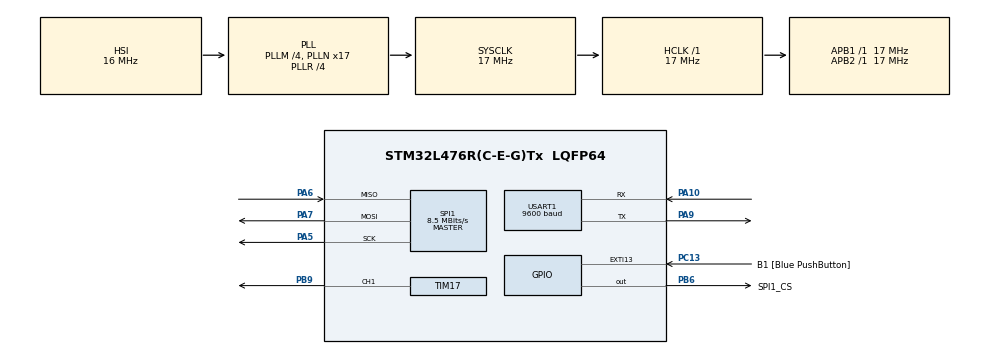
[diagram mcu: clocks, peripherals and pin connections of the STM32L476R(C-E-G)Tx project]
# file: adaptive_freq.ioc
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Mcu.Family=STM32L4
Mcu.Name=STM32L476R(C-E-G)Tx
Mcu.Package=LQFP64
NVIC.PriorityGroup=NVIC_PRIORITYGROUP_4
NVIC.USART1_IRQn=true\:0\:0\:false\:false\:true\:true\:true\:true
PA10.Mode=Asynchronous
PA10.Signal=USART1_RX
PA13\ (JTMS-SWDIO).GPIO_Label=TMS
PA13\ (JTMS-SWDIO).Mode=Serial_Wire
PA13\ (JTMS-SWDIO).Signal=SYS_JTMS-SWDIO
PA14\ (JTCK-SWCLK).GPIO_Label=TCK
PA14\ (JTCK-SWCLK).Mode=Serial_Wire
PA14\ (JTCK-SWCLK).Signal=SYS_JTCK-SWCLK
PA5.Mode=Full_Duplex_Master
PA5.Signal=SPI1_SCK
PA6.Mode=Full_Duplex_Master
PA6.Signal=SPI1_MISO
PA7.Mode=Full_Duplex_Master
PA7.Signal=SPI1_MOSI
PA9.Mode=Asynchronous
PA9.Signal=USART1_TX
PB6.GPIO_Label=SPI1_CS
PB6.Signal=GPIO_Output
PB9.Signal=S_TIM17_CH1
PC13.GPIO_Label=B1 [Blue PushButton]
PC13.GPIO_ModeDefaultEXTI=GPIO_MODE_IT_FALLING
PC13.GPIO_PuPd=GPIO_NOPULL
PC13.Signal=GPXTI13
ProjectManager.HeapSize=0x200
ProjectManager.StackSize=0x400
ProjectManager.TargetToolchain=STM32CubeIDE
RCC.ADCCLockSelection=RCC_ADCCLKSOURCE_PLLSAI1
RCC.ADCFreq_Value=16000000
RCC.AHBFreq_Value=17000000
RCC.APB1CLKDivider=RCC_HCLK_DIV1
RCC.APB1Freq_Value=17000000
RCC.APB1TimCLKDivider=1
RCC.APB1TimFreq_Value=17000000
RCC.APB2CLKDivider=RCC_HCLK_DIV1
RCC.APB2Freq_Value=17000000
RCC.APB2TimCLKDivider=1
RCC.APB2TimFreq_Value=17000000
RCC.CK48CLockSelection=RCC_USBCLKSOURCE_PLLSAI1
RCC.ClockType=ClockTypeHCLK|ClockTypeSysClk|ClockTypePCLK1|ClockTypePCLK2
RCC.CortexFreq_Value=17000000
RCC.Cortex_Div=SYSTICK_CLKSOURCE_HCLK
RCC.DFSDMCLockSelection=RCC_DFSDM1CLKSOURCE_PCLK
RCC.HCLKFreq_Value=17000000
RCC.HSE_VALUE=8000000
RCC.HSI_VALUE=16000000
RCC.I2C1CLockSelection=RCC_I2C1CLKSOURCE_PCLK1
RCC.I2C2CLockSelection=RCC_I2C2CLKSOURCE_PCLK1
RCC.I2C3CLockSelection=RCC_I2C3CLKSOURCE_PCLK1
RCC.LPTIM1CLockSelection=RCC_LPTIM1CLKSOURCE_PCLK
RCC.LPTIM2CLockSelection=RCC_LPTIM2CLKSOURCE_PCLK
RCC.LPUART1CLockSelection=RCC_LPUART1CLKSOURCE_PCLK1
RCC.LSE_VALUE=32768
RCC.MSIClockRange=RCC_MSIRANGE_6
RCC.MSI_VALUE=4000000
RCC.OscillatorType=OscillatorTypeHSI|OscillatorTypeLSI|OscillatorTypeHSE|OscillatorTypeLSE|OscillatorTypeMSI
RCC.PLLM=4
RCC.PLLN=17
RCC.PLLP=RCC_PLLP_DIV7
RCC.PLLQ=RCC_PLLQ_DIV2
RCC.PLLR=RCC_PLLR_DIV4
RCC.PLLSAI1P=RCC_PLLP_DIV7
RCC.PLLSAI1Q=RCC_PLLQ_DIV2
RCC.PLLSAI1R=RCC_PLLR_DIV2
RCC.PLLSAI2P=RCC_PLLP_DIV7
RCC.PLLSAI2R=RCC_PLLR_DIV2
RCC.PLLSourceVirtual=RCC_PLLSOURCE_HSI
RCC.PREFETCH_ENABLE=1
RCC.RCC_MCO1Source=RCC_MCO1SOURCE_SYSCLK
RCC.RCC_MCODiv=RCC_MCODIV_1
RCC.RCC_RTC_Clock_Source_FROM_HSE=32
RCC.RTCClockSelection=RCC_RTCCLKSOURCE_LSI
RCC.SAI1CLockSelection=RCC_SAI1CLKSOURCE_PLLSAI1
RCC.SAI2CLockSelection=RCC_SAI2CLKSOURCE_PLLSAI1
RCC.SWPMI1CLockSelection=RCC_SWPMI1CLKSOURCE_PCLK
RCC.SYSCLKFreq_VALUE=17000000
RCC.SYSCLKSource=RCC_SYSCLKSOURCE_PLLCLK
RCC.UART4CLockSelection=RCC_UART4CLKSOURCE_PCLK1
RCC.UART5CLockSelection=RCC_UART5CLKSOURCE_PCLK1
RCC.USART1CLockSelection=RCC_USART1CLKSOURCE_PCLK2
RCC.USART2CLockSelection=RCC_USART2CLKSOURCE_PCLK1
RCC.USART3CLockSelection=RCC_USART3CLKSOURCE_PCLK1
RCC.USBFreq_Value=16000000
RCC.VCOOutputFreq_Value=68000000
SH.S_TIM17_CH1.0=TIM17_CH1,PWM Generation1 CH1
SPI1.BaudRatePrescaler=SPI_BAUDRATEPRESCALER_2
SPI1.CLKPhase=SPI_PHASE_2EDGE
SPI1.CalculateBaudRate=8.5 MBits/s
SPI1.DataSize=SPI_DATASIZE_8BIT
SPI1.Direction=SPI_DIRECTION_2LINES
SPI1.Mode=SPI_MODE_MASTER
SPI1.VirtualType=VM_MASTER
TIM17.Channel=TIM_CHANNEL_1
TIM17.Period=999
TIM17.Pulse=499
USART1.BaudRate=9600
USART1.VirtualMode-Asynchronous=VM_ASYNC
VP_TIM17_VS_ClockSourceINT.Mode=Enable_Timer
board=NUCLEO-L476RG

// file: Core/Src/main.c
/* USER CODE BEGIN Header */
/**
  ******************************************************************************
  * @file           : main.c
  * @brief          : Main program body
  ******************************************************************************
  * @attention
  *
  * Copyright (c) 2022 STMicroelectronics.
  * All rights reserved.
  *
  * This software is licensed under terms that can be found in the LICENSE file
  * in the root directory of this software component.
  * If no LICENSE file comes with this software, it is provided AS-IS.
  *
  ******************************************************************************
  */
/* USER CODE END Header */
#include "main.h"

/* USER CODE BEGIN Includes */
#include "freq_adjuster.h"
#include "string.h"
#include "stdlib.h"
#include "stdio.h"
#include "stdbool.h"
#include "comms.h"

// CAUTION! THE BANK SELECTION IS CURRENTLY DISABLED, SEE     static uint8_t read_single_icm20948_reg(userbank ub, uint8_t reg)
// INITIALIZATION PART IS ALSO OMITTED
#include "icm20948.h"

/* USER CODE END Includes */

SPI_HandleTypeDef hspi1;

TIM_HandleTypeDef htim17;

UART_HandleTypeDef huart1;

/* USER CODE BEGIN PV */

extern char uart_rx_char;

/* USER CODE END PV */

void SystemClock_Config(void);
static void MX_GPIO_Init(void);
static void MX_TIM17_Init(void);
void MX_USART1_UART_Init(void);
static void MX_SPI1_Init(void);
/* USER CODE BEGIN PFP */
extern void CPU_set_freq(uint8_t freq, UART_HandleTypeDef *uart_to_reset);
/* USER CODE END PFP */

int main(void)
{
  /* USER CODE BEGIN 1 */
	char test_word[] = "STM32 TEST PLATFORM BOOTUP\r\n";
  /* USER CODE END 1 */

  /* MCU Configuration--------------------------------------------------------*/

  /* Reset of all peripherals, Initializes the Flash interface and the Systick. */
  HAL_Init();

  /* Configure the system clock */
  SystemClock_Config();

  /* Initialize all configured peripherals */
  MX_GPIO_Init();
  MX_TIM17_Init();
  MX_USART1_UART_Init();
  MX_SPI1_Init();

  /* Infinite loop */
  /* USER CODE BEGIN WHILE */

  // initialize ICM20948
  // currently disabled because ICM20948 emulator doesnt respond to commands other than ID...

  CPU_set_freq(1, &huart1);
  HAL_UART_Receive_IT(&huart1, (uint8_t *)&uart_rx_char, 1);

  HAL_TIM_PWM_Start(&htim17, TIM_CHANNEL_1);
  HAL_UART_Transmit(&huart1, (uint8_t *)test_word, strlen(test_word), 1000);

  while (1)
  {
	  interpret_user_input();

    /* USER CODE END WHILE */

  }
}

void SystemClock_Config(void)
{
  RCC_OscInitTypeDef RCC_OscInitStruct = {0};
  RCC_ClkInitTypeDef RCC_ClkInitStruct = {0};

  /** Configure the main internal regulator output voltage
  */
  if (HAL_PWREx_ControlVoltageScaling(PWR_REGULATOR_VOLTAGE_SCALE1) != HAL_OK)
  {
    Error_Handler();
  }

  /** Initializes the RCC Oscillators according to the specified parameters
  * in the RCC_OscInitTypeDef structure.
  */
  RCC_OscInitStruct.OscillatorType = RCC_OSCILLATORTYPE_HSI;
  RCC_OscInitStruct.HSIState = RCC_HSI_ON;
  RCC_OscInitStruct.HSICalibrationValue = RCC_HSICALIBRATION_DEFAULT;
  RCC_OscInitStruct.PLL.PLLState = RCC_PLL_ON;
  RCC_OscInitStruct.PLL.PLLSource = RCC_PLLSOURCE_HSI;
  RCC_OscInitStruct.PLL.PLLM = 4;
  RCC_OscInitStruct.PLL.PLLN = 17;
  RCC_OscInitStruct.PLL.PLLP = RCC_PLLP_DIV7;
  RCC_OscInitStruct.PLL.PLLQ = RCC_PLLQ_DIV2;
  RCC_OscInitStruct.PLL.PLLR = RCC_PLLR_DIV4;
  if (HAL_RCC_OscConfig(&RCC_OscInitStruct) != HAL_OK)
  {
    Error_Handler();
  }

  /** Initializes the CPU, AHB and APB buses clocks
  */
  RCC_ClkInitStruct.ClockType = RCC_CLOCKTYPE_HCLK|RCC_CLOCKTYPE_SYSCLK
	  	  	  	  |RCC_CLOCKTYPE_PCLK1|RCC_CLOCKTYPE_PCLK2;
  RCC_ClkInitStruct.SYSCLKSource = RCC_SYSCLKSOURCE_PLLCLK;
  RCC_ClkInitStruct.AHBCLKDivider = RCC_SYSCLK_DIV1;
  RCC_ClkInitStruct.APB1CLKDivider = RCC_HCLK_DIV1;
  RCC_ClkInitStruct.APB2CLKDivider = RCC_HCLK_DIV1;

  if (HAL_RCC_ClockConfig(&RCC_ClkInitStruct, FLASH_LATENCY_1) != HAL_OK)
  {
    Error_Handler();
  }
}

static void MX_SPI1_Init(void)
{

  /* SPI1 parameter configuration*/
  hspi1.Instance = SPI1;
  hspi1.Init.Mode = SPI_MODE_MASTER;
  hspi1.Init.Direction = SPI_DIRECTION_2LINES;
  hspi1.Init.DataSize = SPI_DATASIZE_8BIT;
  hspi1.Init.CLKPolarity = SPI_POLARITY_LOW;
  hspi1.Init.CLKPhase = SPI_PHASE_2EDGE;
  hspi1.Init.NSS = SPI_NSS_SOFT;
  hspi1.Init.BaudRatePrescaler = SPI_BAUDRATEPRESCALER_2;
  hspi1.Init.FirstBit = SPI_FIRSTBIT_MSB;
  hspi1.Init.TIMode = SPI_TIMODE_DISABLE;
  hspi1.Init.CRCCalculation = SPI_CRCCALCULATION_DISABLE;
  hspi1.Init.CRCPolynomial = 7;
  hspi1.Init.CRCLength = SPI_CRC_LENGTH_DATASIZE;
  hspi1.Init.NSSPMode = SPI_NSS_PULSE_DISABLE;
  if (HAL_SPI_Init(&hspi1) != HAL_OK)
  {
    Error_Handler();
  }

}

static void MX_TIM17_Init(void)
{

  TIM_OC_InitTypeDef sConfigOC = {0};
  TIM_BreakDeadTimeConfigTypeDef sBreakDeadTimeConfig = {0};

  htim17.Instance = TIM17;
  htim17.Init.Prescaler = 0;
  htim17.Init.CounterMode = TIM_COUNTERMODE_UP;
  htim17.Init.Period = 999;
  htim17.Init.ClockDivision = TIM_CLOCKDIVISION_DIV1;
  htim17.Init.RepetitionCounter = 0;
  htim17.Init.AutoReloadPreload = TIM_AUTORELOAD_PRELOAD_DISABLE;
  if (HAL_TIM_Base_Init(&htim17) != HAL_OK)
  {
    Error_Handler();
  }
  if (HAL_TIM_PWM_Init(&htim17) != HAL_OK)
  {
    Error_Handler();
  }
  sConfigOC.OCMode = TIM_OCMODE_PWM1;
  sConfigOC.Pulse = 499;
  sConfigOC.OCPolarity = TIM_OCPOLARITY_HIGH;
  sConfigOC.OCNPolarity = TIM_OCNPOLARITY_HIGH;
  sConfigOC.OCFastMode = TIM_OCFAST_DISABLE;
  sConfigOC.OCIdleState = TIM_OCIDLESTATE_RESET;
  sConfigOC.OCNIdleState = TIM_OCNIDLESTATE_RESET;
  if (HAL_TIM_PWM_ConfigChannel(&htim17, &sConfigOC, TIM_CHANNEL_1) != HAL_OK)
  {
    Error_Handler();
  }
  sBreakDeadTimeConfig.OffStateRunMode = TIM_OSSR_DISABLE;
  sBreakDeadTimeConfig.OffStateIDLEMode = TIM_OSSI_DISABLE;
  sBreakDeadTimeConfig.LockLevel = TIM_LOCKLEVEL_OFF;
  sBreakDeadTimeConfig.DeadTime = 0;
  sBreakDeadTimeConfig.BreakState = TIM_BREAK_DISABLE;
  sBreakDeadTimeConfig.BreakPolarity = TIM_BREAKPOLARITY_HIGH;
  sBreakDeadTimeConfig.AutomaticOutput = TIM_AUTOMATICOUTPUT_DISABLE;
  if (HAL_TIMEx_ConfigBreakDeadTime(&htim17, &sBreakDeadTimeConfig) != HAL_OK)
  {
    Error_Handler();
  }
  HAL_TIM_MspPostInit(&htim17);

}

void MX_USART1_UART_Init(void)
{

  huart1.Instance = USART1;
  huart1.Init.BaudRate = 9600;
  huart1.Init.WordLength = UART_WORDLENGTH_8B;
  huart1.Init.StopBits = UART_STOPBITS_1;
  huart1.Init.Parity = UART_PARITY_NONE;
  huart1.Init.Mode = UART_MODE_TX_RX;
  huart1.Init.HwFlowCtl = UART_HWCONTROL_NONE;
  huart1.Init.OverSampling = UART_OVERSAMPLING_16;
  huart1.Init.OneBitSampling = UART_ONE_BIT_SAMPLE_DISABLE;
  huart1.AdvancedInit.AdvFeatureInit = UART_ADVFEATURE_NO_INIT;
  if (HAL_UART_Init(&huart1) != HAL_OK)
  {
    Error_Handler();
  }

}

static void MX_GPIO_Init(void)
{
  GPIO_InitTypeDef GPIO_InitStruct = {0};

  /* GPIO Ports Clock Enable */
  __HAL_RCC_GPIOC_CLK_ENABLE();
  __HAL_RCC_GPIOA_CLK_ENABLE();
  __HAL_RCC_GPIOB_CLK_ENABLE();

  /*Configure GPIO pin Output Level */
  HAL_GPIO_WritePin(SPI1_CS_GPIO_Port, SPI1_CS_Pin, GPIO_PIN_RESET);

  /*Configure GPIO pin : B1_Pin */
  GPIO_InitStruct.Pin = B1_Pin;
  GPIO_InitStruct.Mode = GPIO_MODE_IT_FALLING;
  GPIO_InitStruct.Pull = GPIO_NOPULL;
  HAL_GPIO_Init(B1_GPIO_Port, &GPIO_InitStruct);

  /*Configure GPIO pin : SPI1_CS_Pin */
  GPIO_InitStruct.Pin = SPI1_CS_Pin;
  GPIO_InitStruct.Mode = GPIO_MODE_OUTPUT_PP;
  GPIO_InitStruct.Pull = GPIO_NOPULL;
  GPIO_InitStruct.Speed = GPIO_SPEED_FREQ_LOW;
  HAL_GPIO_Init(SPI1_CS_GPIO_Port, &GPIO_InitStruct);

}

void Error_Handler(void)
{
  __disable_irq();
  while (1)
  {
  }
}
